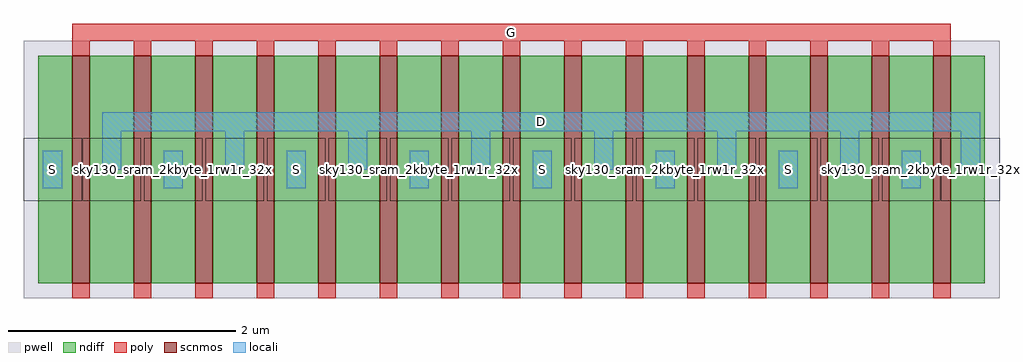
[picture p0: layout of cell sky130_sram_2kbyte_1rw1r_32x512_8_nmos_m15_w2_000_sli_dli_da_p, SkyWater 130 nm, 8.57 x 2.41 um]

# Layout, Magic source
magic
tech sky130A
magscale 1 2
<< pwell >>
rect -26 -26 1688 426
<< scnmos >>
rect 60 0 90 400
rect 168 0 198 400
rect 276 0 306 400
rect 384 0 414 400
rect 492 0 522 400
rect 600 0 630 400
rect 708 0 738 400
rect 816 0 846 400
rect 924 0 954 400
rect 1032 0 1062 400
rect 1140 0 1170 400
rect 1248 0 1278 400
rect 1356 0 1386 400
rect 1464 0 1494 400
rect 1572 0 1602 400
<< ndiff >>
rect 0 0 60 400
rect 90 0 168 400
rect 198 0 276 400
rect 306 0 384 400
rect 414 0 492 400
rect 522 0 600 400
rect 630 0 708 400
rect 738 0 816 400
rect 846 0 924 400
rect 954 0 1032 400
rect 1062 0 1140 400
rect 1170 0 1248 400
rect 1278 0 1356 400
rect 1386 0 1464 400
rect 1494 0 1572 400
rect 1602 0 1662 400
<< poly >>
rect 60 426 1602 456
rect 60 400 90 426
rect 168 400 198 426
rect 276 400 306 426
rect 384 400 414 426
rect 492 400 522 426
rect 600 400 630 426
rect 708 400 738 426
rect 816 400 846 426
rect 924 400 954 426
rect 1032 400 1062 426
rect 1140 400 1170 426
rect 1248 400 1278 426
rect 1356 400 1386 426
rect 1464 400 1494 426
rect 1572 400 1602 426
rect 60 -26 90 0
rect 168 -26 198 0
rect 276 -26 306 0
rect 384 -26 414 0
rect 492 -26 522 0
rect 600 -26 630 0
rect 708 -26 738 0
rect 816 -26 846 0
rect 924 -26 954 0
rect 1032 -26 1062 0
rect 1140 -26 1170 0
rect 1248 -26 1278 0
rect 1356 -26 1386 0
rect 1464 -26 1494 0
rect 1572 -26 1602 0
<< locali >>
rect 112 267 1654 301
rect 8 167 42 233
rect 112 200 146 267
rect 220 167 254 233
rect 328 200 362 267
rect 436 167 470 233
rect 544 200 578 267
rect 652 167 686 233
rect 760 200 794 267
rect 868 167 902 233
rect 976 200 1010 267
rect 1084 167 1118 233
rect 1192 200 1226 267
rect 1300 167 1334 233
rect 1408 200 1442 267
rect 1516 167 1550 233
rect 1620 200 1654 267
use sky130_sram_2kbyte_1rw1r_32x512_8_contact_11  sky130_sram_2kbyte_1rw1r_32x512_8_contact_11_0
transform 1 0 1612 0 1 167
box -26 -22 76 88
use sky130_sram_2kbyte_1rw1r_32x512_8_contact_11  sky130_sram_2kbyte_1rw1r_32x512_8_contact_11_1
transform 1 0 1508 0 1 167
box -26 -22 76 88
use sky130_sram_2kbyte_1rw1r_32x512_8_contact_11  sky130_sram_2kbyte_1rw1r_32x512_8_contact_11_2
transform 1 0 1400 0 1 167
box -26 -22 76 88
use sky130_sram_2kbyte_1rw1r_32x512_8_contact_11  sky130_sram_2kbyte_1rw1r_32x512_8_contact_11_3
transform 1 0 1292 0 1 167
box -26 -22 76 88
use sky130_sram_2kbyte_1rw1r_32x512_8_contact_11  sky130_sram_2kbyte_1rw1r_32x512_8_contact_11_4
transform 1 0 1184 0 1 167
box -26 -22 76 88
use sky130_sram_2kbyte_1rw1r_32x512_8_contact_11  sky130_sram_2kbyte_1rw1r_32x512_8_contact_11_5
transform 1 0 1076 0 1 167
box -26 -22 76 88
use sky130_sram_2kbyte_1rw1r_32x512_8_contact_11  sky130_sram_2kbyte_1rw1r_32x512_8_contact_11_6
transform 1 0 968 0 1 167
box -26 -22 76 88
use sky130_sram_2kbyte_1rw1r_32x512_8_contact_11  sky130_sram_2kbyte_1rw1r_32x512_8_contact_11_7
transform 1 0 860 0 1 167
box -26 -22 76 88
use sky130_sram_2kbyte_1rw1r_32x512_8_contact_11  sky130_sram_2kbyte_1rw1r_32x512_8_contact_11_8
transform 1 0 752 0 1 167
box -26 -22 76 88
use sky130_sram_2kbyte_1rw1r_32x512_8_contact_11  sky130_sram_2kbyte_1rw1r_32x512_8_contact_11_9
transform 1 0 644 0 1 167
box -26 -22 76 88
use sky130_sram_2kbyte_1rw1r_32x512_8_contact_11  sky130_sram_2kbyte_1rw1r_32x512_8_contact_11_10
transform 1 0 536 0 1 167
box -26 -22 76 88
use sky130_sram_2kbyte_1rw1r_32x512_8_contact_11  sky130_sram_2kbyte_1rw1r_32x512_8_contact_11_11
transform 1 0 428 0 1 167
box -26 -22 76 88
use sky130_sram_2kbyte_1rw1r_32x512_8_contact_11  sky130_sram_2kbyte_1rw1r_32x512_8_contact_11_12
transform 1 0 320 0 1 167
box -26 -22 76 88
use sky130_sram_2kbyte_1rw1r_32x512_8_contact_11  sky130_sram_2kbyte_1rw1r_32x512_8_contact_11_13
transform 1 0 212 0 1 167
box -26 -22 76 88
use sky130_sram_2kbyte_1rw1r_32x512_8_contact_11  sky130_sram_2kbyte_1rw1r_32x512_8_contact_11_14
transform 1 0 104 0 1 167
box -26 -22 76 88
use sky130_sram_2kbyte_1rw1r_32x512_8_contact_11  sky130_sram_2kbyte_1rw1r_32x512_8_contact_11_15
transform 1 0 0 0 1 167
box -26 -22 76 88
<< labels >>
rlabel locali s 453 200 453 200 4 S
rlabel locali s 25 200 25 200 4 S
rlabel locali s 885 200 885 200 4 S
rlabel locali s 1533 200 1533 200 4 S
rlabel locali s 1317 200 1317 200 4 S
rlabel locali s 1101 200 1101 200 4 S
rlabel locali s 237 200 237 200 4 S
rlabel locali s 669 200 669 200 4 S
rlabel locali s 883 284 883 284 4 D
rlabel poly s 831 441 831 441 4 G
<< properties >>
string FIXED_BBOX -25 -26 1687 456
<< end >>
